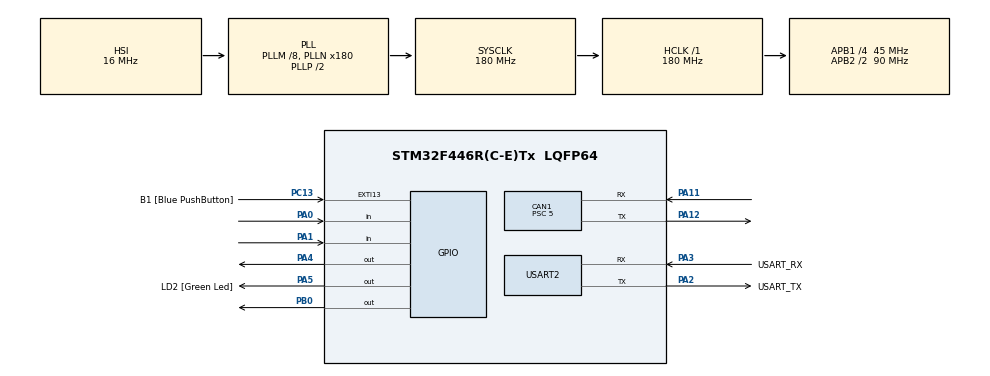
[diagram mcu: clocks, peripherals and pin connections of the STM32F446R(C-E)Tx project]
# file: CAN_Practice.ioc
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CAN1.BS1=CAN_BS1_15TQ
CAN1.BS2=CAN_BS2_2TQ
CAN1.CalculateBaudRate=500000
CAN1.CalculateTimeBit=2000
CAN1.CalculateTimeQuantum=111.11111111111111
CAN1.NART=ENABLE
CAN1.Prescaler=5
FREERTOS.Queues01=EventQueue,8,uint8_t,0,Dynamic,NULL,NULL
FREERTOS.Tasks01=defaultTask,24,128,StartDefaultTask,Default,NULL,Dynamic,NULL,NULL;ConveyorTask,8,256,StartTask02,Default,NULL,Dynamic,NULL,NULL;EventTask,8,256,StartTask03,Default,NULL,Dynamic,NULL,NULL;MotorBTask,8,256,StartTask04,Default,NULL,Dynamic,NULL,NULL;MotorCTask,8,256,StartTask05,Default,NULL,Dynamic,NULL,NULL
FREERTOS.Timers01=TrashForwardTimer,TrashForwardTimerCallback,osTimerOnce,Default,NULL,Dynamic,NULL;TrashBackwardTimer,TrashBackwardTimerCallback,osTimerOnce,Default,NULL,Dynamic,NULL;CheckTimer,CheckTimerCallback,osTimerOnce,Default,NULL,Dynamic,NULL
Mcu.Family=STM32F4
Mcu.Name=STM32F446R(C-E)Tx
Mcu.Package=LQFP64
NVIC.CAN1_RX0_IRQn=true\:5\:0\:false\:false\:true\:true\:true\:true\:true
NVIC.PriorityGroup=NVIC_PRIORITYGROUP_4
PA0-WKUP.Signal=GPIO_Input
PA1.Signal=GPIO_Input
PA11.Mode=CAN_Activate
PA11.Signal=CAN1_RX
PA12.Mode=CAN_Activate
PA12.Signal=CAN1_TX
PA13.GPIO_Label=TMS
PA13.Mode=Serial_Wire
PA13.Signal=SYS_JTMS-SWDIO
PA14.GPIO_Label=TCK
PA14.Mode=Serial_Wire
PA14.Signal=SYS_JTCK-SWCLK
PA2.GPIO_Label=USART_TX
PA2.Mode=Asynchronous
PA2.Signal=USART2_TX
PA3.GPIO_Label=USART_RX
PA3.Mode=Asynchronous
PA3.Signal=USART2_RX
PA4.Signal=GPIO_Output
PA5.GPIO_Label=LD2 [Green Led]
PA5.Signal=GPIO_Output
PB0.Signal=GPIO_Output
PB3.GPIO_Label=SWO
PB3.Signal=SYS_JTDO-SWO
PC13.GPIO_Label=B1 [Blue PushButton]
PC13.GPIO_ModeDefaultEXTI=GPIO_MODE_IT_FALLING
PC13.Signal=GPXTI13
PC14-OSC32_IN.Mode=LSE-External-Oscillator
PC14-OSC32_IN.Signal=RCC_OSC32_IN
PC15-OSC32_OUT.Mode=LSE-External-Oscillator
PC15-OSC32_OUT.Signal=RCC_OSC32_OUT
PH0-OSC_IN.Mode=HSE-External-Oscillator
PH0-OSC_IN.Signal=RCC_OSC_IN
PH1-OSC_OUT.Mode=HSE-External-Oscillator
PH1-OSC_OUT.Signal=RCC_OSC_OUT
ProjectManager.HeapSize=0x200
ProjectManager.StackSize=0x400
ProjectManager.TargetToolchain=STM32CubeIDE
RCC.48MHZClocksFreq_Value=84000000
RCC.AHBFreq_Value=180000000
RCC.APB1CLKDivider=RCC_HCLK_DIV4
RCC.APB1Freq_Value=45000000
RCC.APB1TimFreq_Value=90000000
RCC.APB2CLKDivider=RCC_HCLK_DIV2
RCC.APB2Freq_Value=90000000
RCC.APB2TimFreq_Value=180000000
RCC.CortexFreq_Value=180000000
RCC.FLatency-AdvancedSettings=FLASH_LATENCY_5
RCC.HCLKFreq_Value=180000000
RCC.HSE_VALUE=8000000
RCC.HSI_VALUE=16000000
RCC.PLLM=8
RCC.PLLN=180
RCC.SYSCLKFreq_VALUE=180000000
RCC.SYSCLKSource=RCC_SYSCLKSOURCE_PLLCLK
RCC.USBFreq_Value=180000000
RCC.VCOOutputFreq_Value=360000000
USART2.VirtualMode=VM_ASYNC
VP_FREERTOS_VS_CMSIS_V2.Mode=CMSIS_V2
board=NUCLEO-F446RE

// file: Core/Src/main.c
/* USER CODE BEGIN Header */
/**
  ******************************************************************************
  * @file           : main.c
  * @brief          : Main program body - CAN Sender Board
  ******************************************************************************
  * @attention
  *
  * Copyright (c) 2026 STMicroelectronics.
  * All rights reserved.
  *
  * This software is licensed under terms that can be found in the LICENSE file
  * in the root directory of this software component.
  * If no LICENSE file comes with this software, it is provided AS-IS.
  *
  ******************************************************************************
  */
/* USER CODE END Header */
#include "main.h"
#include "cmsis_os.h"
#include "can.h"
#include "usart.h"
#include "gpio.h"

/* USER CODE BEGIN PV */

CAN_TxHeaderTypeDef TxHeader;
uint8_t TxData[8];
uint32_t TxMailbox;

/* USER CODE END PV */

void SystemClock_Config(void);
void MX_FREERTOS_Init(void);
/* USER CODE BEGIN PFP */

void CAN_Send_Message(uint32_t stdId);

/* USER CODE END PFP */

/* USER CODE BEGIN 0 */

void CAN_Send_Message(uint32_t stdId)
{
  TxHeader.StdId = stdId;
  TxHeader.ExtId = 0x00;
  TxHeader.IDE = CAN_ID_STD;
  TxHeader.RTR = CAN_RTR_DATA;
  TxHeader.DLC = 4;
  TxHeader.TransmitGlobalTime = DISABLE;

  TxData[0] = 0x11;
  TxData[1] = 0x22;
  TxData[2] = 0x33;
  TxData[3] = 0x44;

  if (HAL_CAN_AddTxMessage(&hcan1, &TxHeader, TxData, &TxMailbox) != HAL_OK)
  {
    Error_Handler();
  }
}

/* USER CODE END 0 */

int main(void)
{

  /* MCU Configuration--------------------------------------------------------*/

  /* Reset of all peripherals, Initializes the Flash interface and the Systick. */
  HAL_Init();

  /* Configure the system clock */
  SystemClock_Config();

  /* Initialize all configured peripherals */
  MX_GPIO_Init();
  MX_USART2_UART_Init();
  MX_CAN1_Init();
  /* USER CODE BEGIN 2 */

  /*
   * CAN 송신 보드 시작
   */
  if (HAL_CAN_Start(&hcan1) != HAL_OK)
  {
    Error_Handler();
  }

  /* USER CODE END 2 */

  /* Init scheduler */
  osKernelInitialize();  /* Call init function for freertos objects (in cmsis_os2.c) */
  MX_FREERTOS_Init();

  /* Start scheduler */
  osKernelStart();

  /* We should never get here as control is now taken by the scheduler */

  /* Infinite loop */
  while (1)
  {

    /* USER CODE BEGIN 3 */

    /*
     * FreeRTOS 사용 중에는 여기까지 오지 않는다.
     * 따라서 CAN_Send_TestMessage()를 여기에 넣으면 안 된다.
     */

  }
  /* USER CODE END 3 */
}

void SystemClock_Config(void)
{
  RCC_OscInitTypeDef RCC_OscInitStruct = {0};
  RCC_ClkInitTypeDef RCC_ClkInitStruct = {0};

  /** Configure the main internal regulator output voltage
  */
  __HAL_RCC_PWR_CLK_ENABLE();
  __HAL_PWR_VOLTAGESCALING_CONFIG(PWR_REGULATOR_VOLTAGE_SCALE1);

  /** Initializes the RCC Oscillators according to the specified parameters
  * in the RCC_OscInitTypeDef structure.
  */
  RCC_OscInitStruct.OscillatorType = RCC_OSCILLATORTYPE_HSI;
  RCC_OscInitStruct.HSIState = RCC_HSI_ON;
  RCC_OscInitStruct.HSICalibrationValue = RCC_HSICALIBRATION_DEFAULT;
  RCC_OscInitStruct.PLL.PLLState = RCC_PLL_ON;
  RCC_OscInitStruct.PLL.PLLSource = RCC_PLLSOURCE_HSI;
  RCC_OscInitStruct.PLL.PLLM = 8;
  RCC_OscInitStruct.PLL.PLLN = 180;
  RCC_OscInitStruct.PLL.PLLP = RCC_PLLP_DIV2;
  RCC_OscInitStruct.PLL.PLLQ = 2;
  RCC_OscInitStruct.PLL.PLLR = 2;
  if (HAL_RCC_OscConfig(&RCC_OscInitStruct) != HAL_OK)
  {
    Error_Handler();
  }

  /** Activate the Over-Drive mode
  */
  if (HAL_PWREx_EnableOverDrive() != HAL_OK)
  {
    Error_Handler();
  }

  /** Initializes the CPU, AHB and APB buses clocks
  */
  RCC_ClkInitStruct.ClockType = RCC_CLOCKTYPE_HCLK|RCC_CLOCKTYPE_SYSCLK
                              |RCC_CLOCKTYPE_PCLK1|RCC_CLOCKTYPE_PCLK2;
  RCC_ClkInitStruct.SYSCLKSource = RCC_SYSCLKSOURCE_PLLCLK;
  RCC_ClkInitStruct.AHBCLKDivider = RCC_SYSCLK_DIV1;
  RCC_ClkInitStruct.APB1CLKDivider = RCC_HCLK_DIV4;
  RCC_ClkInitStruct.APB2CLKDivider = RCC_HCLK_DIV2;

  if (HAL_RCC_ClockConfig(&RCC_ClkInitStruct, FLASH_LATENCY_5) != HAL_OK)
  {
    Error_Handler();
  }
}

void Error_Handler(void)
{
  /* USER CODE BEGIN Error_Handler_Debug */
  __disable_irq();

  while (1)
  {
    /*
     * 에러 발생 시 LD2 빠르게 깜빡임
     */
    HAL_GPIO_TogglePin(GPIOA, GPIO_PIN_5);
    HAL_Delay(100);
  }
  /* USER CODE END Error_Handler_Debug */
}

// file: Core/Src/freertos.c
/* USER CODE BEGIN Header */
/**
  ******************************************************************************
  * File Name          : freertos.c
  * Description        : Code for freertos applications
  ******************************************************************************
  * @attention
  *
  * Copyright (c) 2026 STMicroelectronics.
  * All rights reserved.
  *
  * This software is licensed under terms that can be found in the LICENSE file
  * in the root directory of this software component.
  * If no LICENSE file comes with this software, it is provided AS-IS.
  *
  ******************************************************************************
  */
/* USER CODE END Header */

#include "FreeRTOS.h"
#include "task.h"
#include "main.h"
#include "cmsis_os.h"

/* USER CODE BEGIN Includes */

/*
 * HAL_GPIO_TogglePin(), GPIOA, GPIO_PIN_5 사용을 위해 포함
 * 보통 main.h만으로도 되지만, gpio.h를 명시적으로 포함해두는 것이 안전하다.
 */
#include "gpio.h"

/* USER CODE END Includes */

/* USER CODE BEGIN PD */

/*
 * CAN 송신 주기
 * 1000ms = 1초
 */
#define CAN_SEND_PERIOD_MS 1000

/* USER CODE END PD */

/* Definitions for defaultTask */
osThreadId_t defaultTaskHandle;
const osThreadAttr_t defaultTask_attributes = {
  .name = "defaultTask",
  .stack_size = 128 * 4,
  .priority = (osPriority_t) osPriorityNormal,
};
/* Definitions for ConveyorTask */
osThreadId_t ConveyorTaskHandle;
const osThreadAttr_t ConveyorTask_attributes = {
  .name = "ConveyorTask",
  .stack_size = 256 * 4,
  .priority = (osPriority_t) osPriorityLow,
};
/* Definitions for EventTask */
osThreadId_t EventTaskHandle;
const osThreadAttr_t EventTask_attributes = {
  .name = "EventTask",
  .stack_size = 256 * 4,
  .priority = (osPriority_t) osPriorityLow,
};
/* Definitions for MotorBTask */
osThreadId_t MotorBTaskHandle;
const osThreadAttr_t MotorBTask_attributes = {
  .name = "MotorBTask",
  .stack_size = 256 * 4,
  .priority = (osPriority_t) osPriorityLow,
};
/* Definitions for MotorCTask */
osThreadId_t MotorCTaskHandle;
const osThreadAttr_t MotorCTask_attributes = {
  .name = "MotorCTask",
  .stack_size = 256 * 4,
  .priority = (osPriority_t) osPriorityLow,
};
/* Definitions for EventQueue */
osMessageQueueId_t EventQueueHandle;
const osMessageQueueAttr_t EventQueue_attributes = {
  .name = "EventQueue"
};
/* Definitions for TrashForwardTimer */
osTimerId_t TrashForwardTimerHandle;
const osTimerAttr_t TrashForwardTimer_attributes = {
  .name = "TrashForwardTimer"
};
/* Definitions for TrashBackwardTimer */
osTimerId_t TrashBackwardTimerHandle;
const osTimerAttr_t TrashBackwardTimer_attributes = {
  .name = "TrashBackwardTimer"
};
/* Definitions for CheckTimer */
osTimerId_t CheckTimerHandle;
const osTimerAttr_t CheckTimer_attributes = {
  .name = "CheckTimer"
};

/* USER CODE BEGIN FunctionPrototypes */

/*
 * main.c에 정의해둔 CAN 송신 함수
 *
 * main.c 쪽에 아래 함수가 있어야 한다.
 *
 * void CAN_Send_Message(uint32_t stdId)
 * {
 *   ...
 * }
 */
void CAN_Send_Message(uint32_t stdId);

/* USER CODE END FunctionPrototypes */

void StartDefaultTask(void *argument);
void StartTask02(void *argument);
void StartTask03(void *argument);
void StartTask04(void *argument);
void StartTask05(void *argument);
void TrashForwardTimerCallback(void *argument);
void TrashBackwardTimerCallback(void *argument);
void CheckTimerCallback(void *argument);

void MX_FREERTOS_Init(void); /* (MISRA C 2004 rule 8.1) */

void MX_FREERTOS_Init(void) {

  /* Create the timer(s) */
  /* creation of TrashForwardTimer */
  TrashForwardTimerHandle = osTimerNew(TrashForwardTimerCallback, osTimerOnce, NULL, &TrashForwardTimer_attributes);

  /* creation of TrashBackwardTimer */
  TrashBackwardTimerHandle = osTimerNew(TrashBackwardTimerCallback, osTimerOnce, NULL, &TrashBackwardTimer_attributes);

  /* creation of CheckTimer */
  CheckTimerHandle = osTimerNew(CheckTimerCallback, osTimerOnce, NULL, &CheckTimer_attributes);

  /* Create the queue(s) */
  /* creation of EventQueue */
  EventQueueHandle = osMessageQueueNew (8, sizeof(uint8_t), &EventQueue_attributes);

  /* Create the thread(s) */
  /* creation of defaultTask */
  defaultTaskHandle = osThreadNew(StartDefaultTask, NULL, &defaultTask_attributes);

  /* creation of ConveyorTask */
  ConveyorTaskHandle = osThreadNew(StartTask02, NULL, &ConveyorTask_attributes);

  /* creation of EventTask */
  EventTaskHandle = osThreadNew(StartTask03, NULL, &EventTask_attributes);

  /* creation of MotorBTask */
  MotorBTaskHandle = osThreadNew(StartTask04, NULL, &MotorBTask_attributes);

  /* creation of MotorCTask */
  MotorCTaskHandle = osThreadNew(StartTask05, NULL, &MotorCTask_attributes);

}

void StartDefaultTask(void *argument)
{
  /* USER CODE BEGIN StartDefaultTask */

	  GPIO_PinState prevButton0 = GPIO_PIN_SET;
	  GPIO_PinState prevButton1 = GPIO_PIN_SET;

	  GPIO_PinState nowButton0;
	  GPIO_PinState nowButton1;

	  for(;;)
	  {
	    nowButton0 = HAL_GPIO_ReadPin(GPIOA, GPIO_PIN_0);
	    nowButton1 = HAL_GPIO_ReadPin(GPIOA, GPIO_PIN_1);

	    /*
	     * PA0 버튼이 눌리는 순간
	     * Pull-up 방식이므로 SET -> RESET으로 바뀌는 순간이 버튼 누름
	     */
	    if (prevButton0 == GPIO_PIN_SET && nowButton0 == GPIO_PIN_RESET)
	    {
	      CAN_Send_Message(0x101);

	      HAL_GPIO_TogglePin(GPIOA, GPIO_PIN_5);

	      osDelay(50); // 간단한 채터링 방지
	    }

	    /*
	     * PA1 버튼이 눌리는 순간
	     */
	    if (prevButton1 == GPIO_PIN_SET && nowButton1 == GPIO_PIN_RESET)
	    {
	      CAN_Send_Message(0x102);

	      HAL_GPIO_TogglePin(GPIOA, GPIO_PIN_5);

	      osDelay(50); // 간단한 채터링 방지
	    }

	    prevButton0 = nowButton0;
	    prevButton1 = nowButton1;

	    osDelay(10);
	  }

  /* USER CODE END StartDefaultTask */
}

void StartTask02(void *argument)
{
  /* USER CODE BEGIN StartTask02 */

  /*
   * 현재 CAN 테스트에서는 사용하지 않는 Task.
   * 나중에 컨베이어 모터 제어용으로 사용 가능.
   */

  for(;;)
  {
    osDelay(1);
  }

  /* USER CODE END StartTask02 */
}

void StartTask03(void *argument)
{
  /* USER CODE BEGIN StartTask03 */

  /*
   * 현재 CAN 테스트에서는 사용하지 않는 Task.
   * 나중에 센서 이벤트, 큐 처리용으로 사용 가능.
   */

  for(;;)
  {
    osDelay(1);
  }

  /* USER CODE END StartTask03 */
}

void StartTask04(void *argument)
{
  /* USER CODE BEGIN StartTask04 */

  /*
   * 현재 CAN 테스트에서는 사용하지 않는 Task.
   * 나중에 모터 B 제어용으로 사용 가능.
   */

  for(;;)
  {
    osDelay(1);
  }

  /* USER CODE END StartTask04 */
}

void StartTask05(void *argument)
{
  /* USER CODE BEGIN StartTask05 */

  /*
   * 현재 CAN 테스트에서는 사용하지 않는 Task.
   * 나중에 모터 C 제어용으로 사용 가능.
   */

  for(;;)
  {
    osDelay(1);
  }

  /* USER CODE END StartTask05 */
}

/* TrashForwardTimerCallback function */
void TrashForwardTimerCallback(void *argument)
{
  /* USER CODE BEGIN TrashForwardTimerCallback */

  /*
   * 현재 CAN 테스트에서는 사용하지 않음
   */

  /* USER CODE END TrashForwardTimerCallback */
}

/* TrashBackwardTimerCallback function */
void TrashBackwardTimerCallback(void *argument)
{
  /* USER CODE BEGIN TrashBackwardTimerCallback */

  /*
   * 현재 CAN 테스트에서는 사용하지 않음
   */

  /* USER CODE END TrashBackwardTimerCallback */
}

/* CheckTimerCallback function */
void CheckTimerCallback(void *argument)
{
  /* USER CODE BEGIN CheckTimerCallback */

  /*
   * 현재 CAN 테스트에서는 사용하지 않음
   */

  /* USER CODE END CheckTimerCallback */
}
